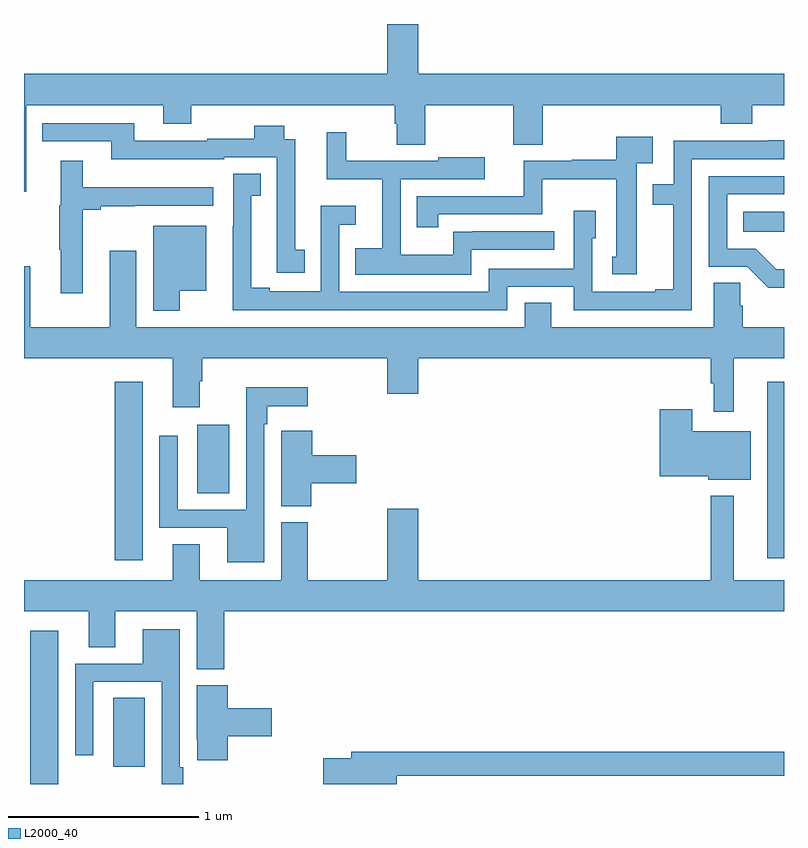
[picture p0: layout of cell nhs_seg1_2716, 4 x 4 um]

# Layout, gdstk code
import gdstk
lib = gdstk.Library(unit=1e-6, precision=1e-09)
def R(c, l, rs):  # rectangles x0, y0, x1, y1
    for r in rs: c.add(gdstk.rectangle(r[:2], r[2:], *l))
def P(c, l, *ps):  # polygons
    for p in ps: c.add(gdstk.Polygon(p, *l))
L2000_40 = (2000, 40)

nhs_seg1_2716 = lib.new_cell('nhs_seg1_2716')
R(nhs_seg1_2716, L2000_40, [(259.034,508.199,259.18,509.005), (259.469,508.29,259.636,508.652), (259.478,509.376,259.624,510.316), (262.913,509.387,263,510.316), (259.913,509.728,260.08,510.091), (262.786,511.106,263,511.21)])
P(nhs_seg1_2716, L2000_40, [(259.011,511.772),(259.733,511.772),(259.733,511.673),(259.881,511.673),(259.881,511.772),(260.951,511.772),(260.951,511.674),(260.963,511.674),(260.963,511.564),(261.111,511.564),(261.111,511.772),(261.574,511.772),(261.574,511.564),(261.729,511.564),(261.729,511.772),(262.667,511.772),(262.667,511.673),(262.832,511.673),(262.832,511.772),(263,511.772),(263,511.936),(261.076,511.936),(261.076,512.199),(260.912,512.199),(260.912,511.936),(259,511.936),(259,511.317),(259.011,511.317)],
  [(260.477,511.011),(260.428,511.011),(260.428,511.593),(260.371,511.593),(260.371,511.663),(260.212,511.663),(260.212,511.594),(259.965,511.594),(259.965,511.584),(259.579,511.584),(259.579,511.677),(259.096,511.677),(259.096,511.581),(259.46,511.581),(259.46,511.487),(260.055,511.487),(260.055,511.497),(260.331,511.497),(260.331,511.214),(260.33,511.214),(260.33,510.891),(260.477,510.891)],
  [(261.354,511.011),(261.79,511.011),(261.79,511.107),(261.361,511.107),(261.361,511.106),(261.258,511.106),(261.258,510.985),(260.982,510.985),(260.982,511.383),(261.424,511.383),(261.424,511.498),(261.179,511.498),(261.179,511.479),(260.696,511.479),(260.696,511.63),(260.594,511.63),(260.594,511.382),(260.885,511.382),(260.885,511.018),(260.743,511.018),(260.743,510.878),(261.354,510.878)],
  [(262.225,511.37),(262.224,511.37),(262.224,511.466),(262.309,511.466),(262.309,511.606),(262.116,511.606),(262.116,511.484),(261.882,511.484),(261.882,511.479),(261.629,511.479),(261.629,511.293),(261.067,511.293),(261.067,511.128),(261.18,511.128),(261.18,511.197),(261.727,511.197),(261.727,511.382),(262.118,511.382),(262.118,510.975),(262.097,510.975),(262.097,510.882),(262.225,510.882)],
  [(260.555,510.693),(261.543,510.693),(261.543,510.816),(261.894,510.816),(261.894,510.693),(262.515,510.693),(262.515,511.488),(263,511.488),(263,511.586),(262.915,511.586),(262.915,511.584),(262.419,511.584),(262.419,511.356),(262.31,511.356),(262.31,511.248),(262.418,511.248),(262.418,510.802),(262.322,510.802),(262.322,510.789),(261.99,510.789),(261.99,511.071),(262.009,511.071),(262.009,511.216),(261.894,511.216),(261.894,510.912),(261.447,510.912),(261.447,510.789),(260.658,510.789),(260.658,511.142),(260.746,511.142),(260.746,511.243),(260.562,511.243),(260.562,510.793),(260.293,510.793),(260.293,510.811),(260.197,510.811),(260.197,511.294),(260.246,511.294),(260.246,511.412),(260.1,511.412),(260.1,511.134),(260.099,511.134),(260.099,510.692),(260.555,510.692)],
  [(259.309,511.222),(259.405,511.222),(259.405,511.24),(259.583,511.24),(259.583,511.242),(259.996,511.242),(259.996,511.339),(259.309,511.339),(259.309,511.48),(259.193,511.48),(259.193,511.245),(259.186,511.245),(259.186,511.012),(259.193,511.012),(259.193,510.783),(259.309,510.783)],
  [(263,510.909),(262.96,510.909),(262.852,511.017),(262.701,511.017),(262.701,511.302),(263,511.302),(263,511.398),(262.605,511.398),(262.605,510.921),(262.806,510.921),(262.916,510.812),(263,510.812)],
  [(259.819,510.794),(259.96,510.794),(259.96,511.138),(259.679,511.138),(259.679,510.689),(259.819,510.689)],
  [(259.451,511.006),(259.451,510.604),(259.033,510.604),(259.033,510.925),(259,510.925),(259,510.44),(259.784,510.44),(259.784,510.183),(259.924,510.183),(259.924,510.32),(259.937,510.32),(259.937,510.44),(260.912,510.44),(260.912,510.252),(261.076,510.252),(261.076,510.44),(262.614,510.44),(262.614,510.308),(262.631,510.308),(262.631,510.159),(262.735,510.159),(262.735,510.44),(263,510.44),(263,510.604),(262.784,510.604),(262.784,510.716),(262.769,510.716),(262.769,510.836),(262.631,510.836),(262.631,510.604),(261.775,510.604),(261.775,510.731),(261.635,510.731),(261.635,510.604),(259.591,510.604),(259.591,511.006)],
  [(260.265,510.092),(260.281,510.092),(260.281,510.188),(260.494,510.188),(260.494,510.286),(260.169,510.286),(260.169,509.643),(259.809,509.643),(259.809,510.031),(259.713,510.031),(259.713,509.547),(260.069,509.547),(260.069,509.366),(260.265,509.366)],
  [(262.825,510.055),(262.516,510.055),(262.516,510.172),(262.346,510.172),(262.346,509.819),(262.602,509.819),(262.602,509.801),(262.825,509.801)],
  [(260.511,509.783),(260.749,509.783),(260.749,509.93),(260.516,509.93),(260.516,510.058),(260.355,510.058),(260.355,509.945),(260.354,509.945),(260.354,509.662),(260.511,509.662)],
  [(260.054,509.108),(263,509.108),(263,509.272),(262.735,509.272),(262.735,509.716),(262.614,509.716),(262.614,509.272),(261.076,509.272),(261.076,509.647),(260.912,509.647),(260.912,509.272),(260.493,509.272),(260.493,509.577),(260.354,509.577),(260.354,509.272),(259.924,509.272),(259.924,509.462),(259.784,509.462),(259.784,509.272),(259,509.272),(259,509.108),(259.34,509.108),(259.34,508.918),(259.48,508.918),(259.48,509.108),(259.91,509.108),(259.91,508.804),(260.054,508.804)],
  [(259.837,508.288),(259.821,508.288),(259.821,509.014),(259.625,509.014),(259.625,508.833),(259.269,508.833),(259.269,508.35),(259.365,508.35),(259.365,508.737),(259.725,508.737),(259.725,508.199),(259.837,508.199)],
  [(260.072,508.451),(260.305,508.451),(260.305,508.598),(260.072,508.598),(260.072,508.719),(259.91,508.719),(259.91,508.435),(259.911,508.435),(259.911,508.323),(260.072,508.323)],
  [(260.962,508.242),(263,508.242),(263,508.37),(260.723,508.37),(260.723,508.334),(260.574,508.334),(260.574,508.199),(260.962,508.199)])

lib.write_gds('nhs_seg1_2716.gds')
